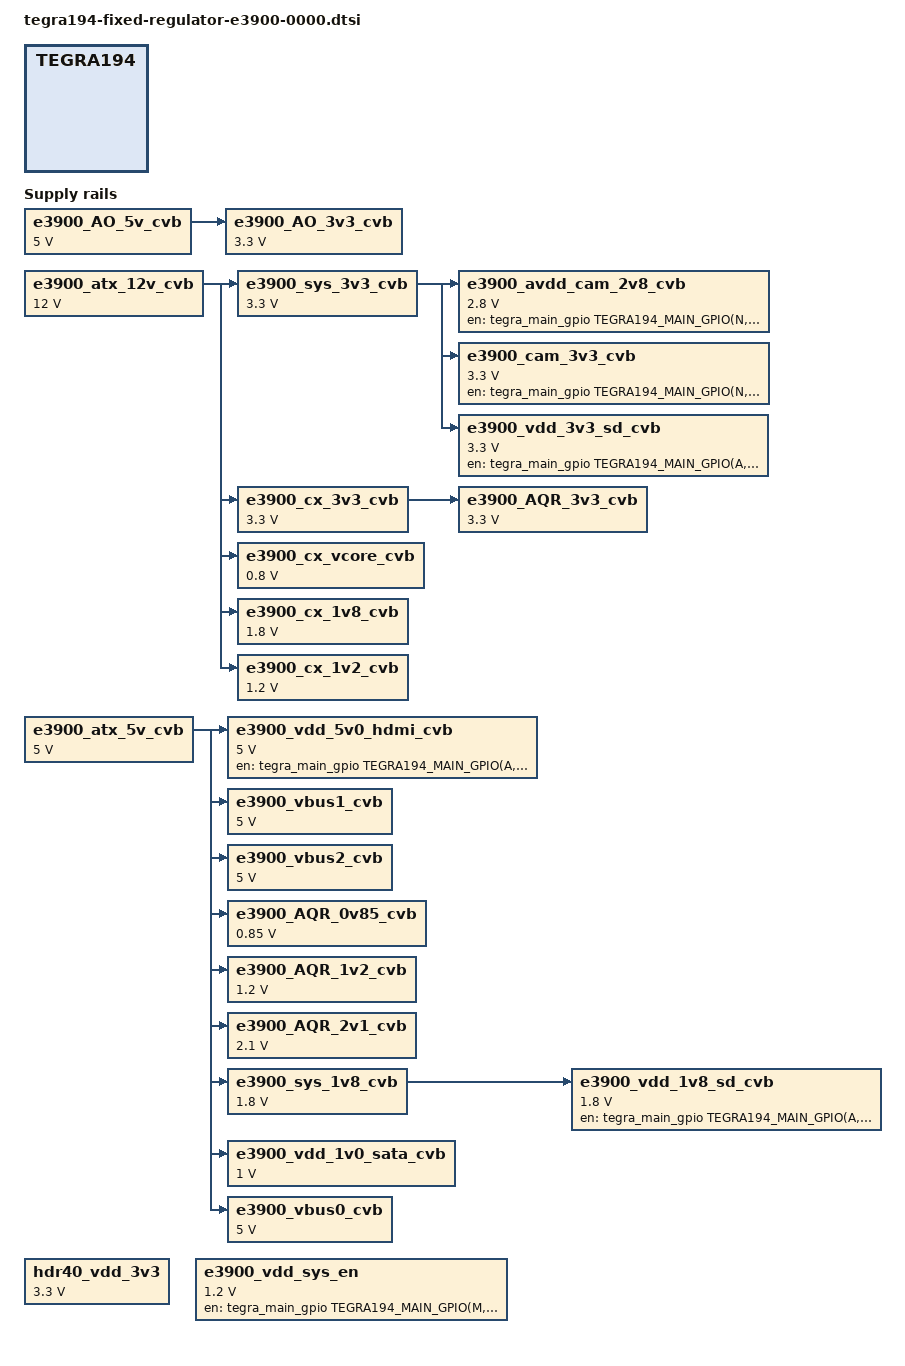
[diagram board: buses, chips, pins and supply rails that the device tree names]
/*
 * Copyright (c) 2019-2020, NVIDIA CORPORATION.  All rights reserved.
 *
 * This program is free software; you can redistribute it and/or modify
 * it under the terms of the GNU General Public License as published by
 * the Free Software Foundation; version 2 of the License.
 *
 * This program is distributed in the hope that it will be useful, but WITHOUT
 * ANY WARRANTY; without even the implied warranty of MERCHANTABILITY or
 * FITNESS FOR A PARTICULAR PURPOSE.  See the GNU General Public License for
 * more details.
 */


#include <dt-bindings/gpio/tegra194-gpio.h>

/ {
	fixed-regulators {
		e3900_AO_5v_cvb: regulator@201 {
			compatible = "regulator-fixed";
			reg = <201>;
			regulator-name = "STBY-5v-cvb";
			regulator-min-microvolt = <5000000>;
			regulator-max-microvolt = <5000000>;
		};

		e3900_AO_3v3_cvb: regulator@202 {
			compatible = "regulator-fixed";
			reg = <202>;
			regulator-name = "AO-3v3-cvb";
			regulator-min-microvolt = <3300000>;
			regulator-max-microvolt = <3300000>;
			vin-supply = <&e3900_AO_5v_cvb>;
		};

		e3900_atx_12v_cvb: regulator@203 {
			compatible = "regulator-fixed";
			reg = <203>;
			regulator-name = "atx-12v-cvb";
			regulator-min-microvolt = <12000000>;
			regulator-max-microvolt = <12000000>;
		};

		e3900_atx_5v_cvb: regulator@204 {
			compatible = "regulator-fixed";
			reg = <204>;
			regulator-name = "atx-5v-cvb";
			regulator-min-microvolt = <5000000>;
			regulator-max-microvolt = <5000000>;
		};

		hdr40_vdd_3v3: e3900_atx_3v3_cvb: regulator@205 {
			compatible = "regulator-fixed";
			reg = <205>;
			regulator-name = "atx-3v3-cvb";
			regulator-min-microvolt = <3300000>;
			regulator-max-microvolt = <3300000>;
		};

		/* CARRIER_PWR_ON as enable pin.
		   CARRIER_PWR_ON -> VDDIO_AO_3V3 -> LD02.
		*/
		e3900_sys_3v3_cvb: regulator@206 {
			compatible = "regulator-fixed";
			reg = <206>;
			regulator-name = "sys-3v3-cvb";
			regulator-min-microvolt = <3300000>;
			regulator-max-microvolt = <3300000>;
			vin-supply = <&e3900_atx_12v_cvb>;
		};

		e3900_cx_3v3_cvb: regulator@207 {
			compatible = "regulator-fixed";
			reg = <207>;
			regulator-name = "cx-3v3-cvb";
			regulator-min-microvolt = <3300000>;
			regulator-max-microvolt = <3300000>;
			vin-supply = <&e3900_atx_12v_cvb>;
		};

		e3900_cx_vcore_cvb: regulator@208 {
			compatible = "regulator-fixed";
			reg = <208>;
			regulator-name = "cx-vcore-cvb";
			regulator-min-microvolt = <800000>;
			regulator-max-microvolt = <800000>;
			vin-supply = <&e3900_atx_12v_cvb>;
		};

		e3900_cx_1v8_cvb: regulator@209 {
			compatible = "regulator-fixed";
			reg = <209>;
			regulator-name = "cx-1v8-cvb";
			regulator-min-microvolt = <1800000>;
			regulator-max-microvolt = <1800000>;
			vin-supply = <&e3900_atx_12v_cvb>;
		};

		/*
		   The enable pin is CX_1V8_PG which gets enabled after
		   e3900_cx_1v8_cvb is enabled.
		*/
		e3900_cx_1v2_cvb: regulator@210 {
			compatible = "regulator-fixed";
			reg = <210>;
			regulator-name = "cx-1v2-cvb";
			regulator-min-microvolt = <1200000>;
			regulator-max-microvolt = <1200000>;
			vin-supply = <&e3900_atx_12v_cvb>;
		};

		e3900_vdd_5v0_hdmi_cvb: regulator@211 {
			compatible = "regulator-fixed";
			reg = <211>;
			regulator-name = "e3900-vdd-5v0-hdmi-cvb";
			regulator-min-microvolt = <5000000>;
			regulator-max-microvolt = <5000000>;
			gpio = <&tegra_main_gpio TEGRA194_MAIN_GPIO(A, 3) 0>;
			enable-active-high;
			vin-supply = <&e3900_atx_5v_cvb>;
		};

		e3900_vbus1_cvb: regulator@212 {
			compatible = "regulator-fixed";
			reg = <212>;
			regulator-name = "e3900-vbus1-cvb";
			regulator-min-microvolt = <5000000>;
			regulator-max-microvolt = <5000000>;
			vin-supply = <&e3900_atx_5v_cvb>;
		    };

		e3900_vbus2_cvb: regulator@213 {
			compatible = "regulator-fixed";
			reg = <213>;
			regulator-name = "e3900-vbus2-cvb";
			regulator-min-microvolt = <5000000>;
			regulator-max-microvolt = <5000000>;
			vin-supply = <&e3900_atx_5v_cvb>;
		    };

		/*
		   The Enable pin is P1_POWER_EN which is from
		   CX6 [Pin: NCSI_MC_TXD0/GP[7]].
		   CX6 will control P0_POWER_EN for the 100G port and
		   P1_POWER_EN for the 10G phy by FW.
		*/
		e3900_AQR_0v85_cvb: regulator@214 {
			compatible = "regulator-fixed";
			reg = <214>;
			regulator-name = "e3900-AQR-0v85-cvb";
			regulator-min-microvolt = <850000>;
			regulator-max-microvolt = <850000>;
			vin-supply = <&e3900_atx_5v_cvb>;
		    };

		/*
		   The enable pin is PS_0V85_PG which is power good
		   signal from e3900_AQR_0v85_cvb.
		*/
		e3900_AQR_1v2_cvb: regulator@215 {
			compatible = "regulator-fixed";
			reg = <215>;
			regulator-name = "e3900-AQR-1v2-cvb";
			regulator-min-microvolt = <1200000>;
			regulator-max-microvolt = <1200000>;
			vin-supply = <&e3900_atx_5v_cvb>;
		    };

		/*
		   The enable pin is PS_1V2_PG which is power good
		   signal from e3900_AQR_1v2_cvb.
		*/
		e3900_AQR_2v1_cvb: regulator@216 {
			compatible = "regulator-fixed";
			reg = <216>;
			regulator-name = "AQR-2v1-cvb";
			regulator-min-microvolt = <2100000>;
			regulator-max-microvolt = <2100000>;
			vin-supply = <&e3900_atx_5v_cvb>;
		    };

		/*
		   The enable pin is PS_2V1_PG which is power good
		   signal from e3900_AQR_2v1_cvb.
		*/
		e3900_AQR_3v3_cvb: regulator@217 {
			compatible = "regulator-fixed";
			reg = <217>;
			regulator-name = "AQR-3v3-cvb";
			regulator-min-microvolt = <3300000>;
			regulator-max-microvolt = <3300000>;
			vin-supply = <&e3900_cx_3v3_cvb>;
		    };

		/*
		   Enable pin is from CARRIER_PWR_ON.
		   LDO2 -> VDDIO_AO_3V3 -> CARRIER_PWR_ON
		*/
		e3900_sys_1v8_cvb: regulator@218 {
			compatible = "regulator-fixed";
			reg = <218>;
			regulator-name = "sys-1v8-cvb";
			regulator-min-microvolt = <1800000>;
			regulator-max-microvolt = <1800000>;
			vin-supply = <&e3900_atx_5v_cvb>;
		    };

		/*
		   The enable pin is PS_1V8_PG which is power good
		   signal from e3900_sys_1v8_cvb.
		*/
		e3900_vdd_1v0_sata_cvb: regulator@219 {
			compatible = "regulator-fixed";
			reg = <219>;
			regulator-name = "vdd-1v0-sata-cvb";
			regulator-min-microvolt = <1000000>;
			regulator-max-microvolt = <1000000>;
			vin-supply = <&e3900_atx_5v_cvb>;
		    };

		e3900_avdd_cam_2v8_cvb: regulator@220 {
			compatible = "regulator-fixed";
			reg = <220>;
			regulator-name = "avdd-cam-2v8-cvb";
			regulator-min-microvolt = <2800000>;
			regulator-max-microvolt = <2800000>;
			gpio = <&tegra_main_gpio TEGRA194_MAIN_GPIO(N, 0) 0>;
			enable-active-high;
			vin-supply = <&e3900_sys_3v3_cvb>;
		};

		e3900_cam_3v3_cvb: regulator@221 {
			compatible = "regulator-fixed";
			reg = <221>;
			regulator-name = "cam-3v3-cvb";
			regulator-min-microvolt = <3300000>;
			regulator-max-microvolt = <3300000>;
			gpio = <&tegra_main_gpio TEGRA194_MAIN_GPIO(N, 0) 0>;
			enable-active-high;
			vin-supply = <&e3900_sys_3v3_cvb>;
		};

		e3900_vdd_1v8_sd_cvb: regulator@222 {
			compatible = "regulator-fixed";
			reg = <222>;
			regulator-name = "e3900-vdd-1v8-sd-cvb";
			regulator-min-microvolt = <1800000>;
			regulator-max-microvolt = <1800000>;
			gpio = <&tegra_main_gpio TEGRA194_MAIN_GPIO(A, 0) 0>;
			enable-active-high;
			vin-supply = <&e3900_sys_1v8_cvb>;
		};

		e3900_vbus0_cvb: regulator@223 {
			compatible = "regulator-fixed";
			reg = <223>;
			regulator-name = "e3900-vbus0-cvb";
			regulator-min-microvolt = <5000000>;
			regulator-max-microvolt = <5000000>;
			vin-supply = <&e3900_atx_5v_cvb>;
		};
		e3900_vdd_3v3_sd_cvb: regulator@224 {
			compatible = "regulator-fixed";
			reg = <224>;
			regulator-name = "e3900-vdd-3v3-sd-cvb";
			regulator-min-microvolt = <3300000>;
			regulator-max-microvolt = <3300000>;
			gpio = <&tegra_main_gpio TEGRA194_MAIN_GPIO(A, 0) 0>;
			enable-active-high;
			vin-supply = <&e3900_sys_3v3_cvb>;
		};
		e3900_vdd_sys_en: regulator@113 {
			compatible = "regulator-fixed";
			reg = <225>;
			regulator-name = "e3900_vdd_sys_en";
			regulator-min-microvolt = <1200000>;
			regulator-max-microvolt = <1200000>;
			gpio = <&tegra_main_gpio TEGRA194_MAIN_GPIO(M, 5) 0>;
			enable-active-high;
		};
	};
};
